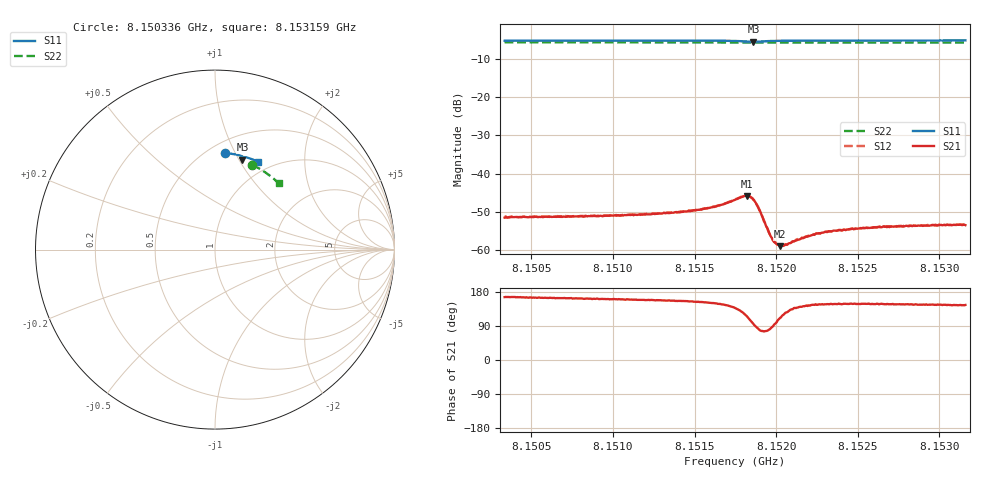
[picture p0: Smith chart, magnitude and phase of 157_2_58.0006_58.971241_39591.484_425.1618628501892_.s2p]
#  HZ  S  RI  R  50.00
! Rohde & Schwarz Vector Network Analyzer
! Rohde-Schwarz,ZNB20-2Port,1311601062101988,3.16
! Created: UTC 3/21/2024, 12:57:16 AM
! freq[Hz]  re:S11  im:S11  re:S21  im:S21  re:S12  im:S12  re:S22  im:S22
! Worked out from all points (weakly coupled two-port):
!   401 points, 8.150336 GHz to 8.153159 GHz, reference 50 ohm
!   highest |S21| = -45.85 dB at 8.151818 GHz (marker M1); lowest = -59.0 dB at 8.152023 GHz (marker M2)
!   lowest |S11| = -5.6 dB at 8.151861 GHz (marker M3), VSWR 3.20, Z = 37.4 + j51.8 ohm
!   |S11| at or under -10 dB: nowhere
!   |S22| runs from -5.8 to -5.8 dB; largest |S21 - S12| = 0.00013
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8.1503363e9  0.0553 0.5383  -0.00258 0.000645  -0.00262 0.00068  0.2078 0.4716
8.1508092e9  0.0886 0.5347  -0.00266 0.000839  -0.00264 0.000916  0.2351 0.458
8.151282e9  0.122 0.5286  -0.00278 0.00113  -0.00278 0.00119  0.2615 0.4427
8.1515432e9  0.1415 0.5235  -0.00301 0.00154  -0.00302 0.00161  0.2758 0.4335
8.1516631e9  0.1513 0.5192  -0.00327 0.00212  -0.00327 0.00217  0.2822 0.4291
8.1517478e9  0.1583 0.5132  -0.00334 0.00308  -0.00334 0.00315  0.2865 0.4257
8.1518184e9  0.1592 0.5041  -0.00227 0.00457  -0.00216 0.00464  0.2898 0.423
8.1518396e9  0.1567 0.5016  -0.00138 0.00479  -0.0013 0.00484  0.291 0.4221
8.1518608e9  0.1531 0.5014  -0.000406 0.00453  -0.000309 0.00458  0.2919 0.4216
8.1518749e9  0.1512 0.5028  0.000117 0.00415  0.000158 0.00414  0.2926 0.4211
8.151896e9  0.1497 0.5056  0.000584 0.00335  0.000617 0.00335  0.2936 0.4204
8.1519525e9  0.1531 0.5127  0.000326 0.00172  0.000384 0.00175  0.2965 0.4186
8.1519737e9  0.1554 0.5139  8.89e-05 0.00143  0.000135 0.00144  0.2977 0.4178
8.1519948e9  0.1577 0.5148  -0.000136 0.00124  -9.56e-05 0.00124  0.2988 0.4171
8.1520231e9  0.1607 0.5152  -0.000399 0.00105  -0.0004 0.00108  0.3004 0.416
8.1520654e9  0.1648 0.5152  -0.00069 0.000961  -0.000701 0.000939  0.3026 0.4143
8.152136e9  0.1711 0.5146  -0.00103 0.000899  -0.00107 0.00093  0.3063 0.4114
8.1522207e9  0.178 0.513  -0.0013 0.000888  -0.0013 0.000961  0.3106 0.4082
8.152376e9  0.1893 0.5098  -0.00152 0.00097  -0.00153 0.000957  0.3184 0.4021
8.1526935e9  0.2109 0.5021  -0.00167 0.00109  -0.00172 0.00111  0.3338 0.3887
8.1530111e9  0.2317 0.4934  -0.00177 0.0012  -0.00178 0.00124  0.3485 0.375
8.1531594e9  0.2411 0.4891  -0.00174 0.00121  -0.00171 0.00127  0.3552 0.3685
